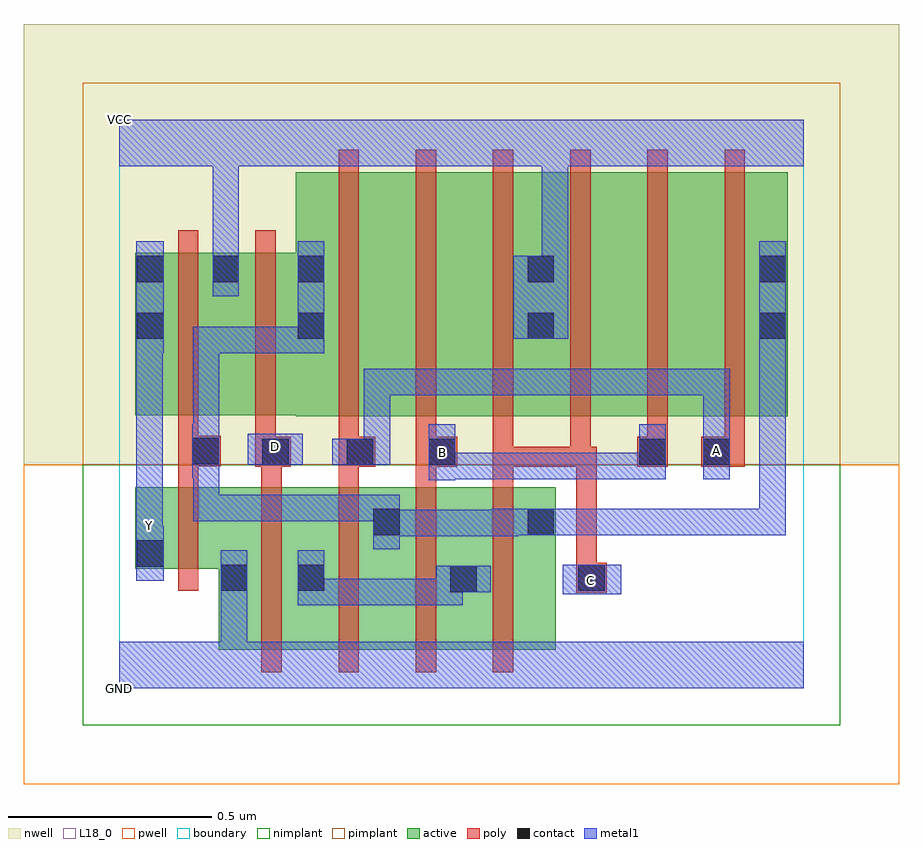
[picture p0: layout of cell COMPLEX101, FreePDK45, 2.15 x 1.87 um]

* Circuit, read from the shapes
.subckt COMPLEX101 A B C D GND VCC Y
M1 GND n1 Y VSUBS nfet w=0.2u l=0.05u
M2 n2 D GND VSUBS nfet w=0.4u l=0.05u
M3 n1 A n2 VSUBS nfet w=0.4u l=0.05u
M4 n2 B n1 VSUBS nfet w=0.4u l=0.05u
M5 n1 C n2 VSUBS nfet w=0.4u l=0.05u
M6 VCC n1 Y n3 pfet w=0.4u l=0.05u
M7 n1 D VCC n3 pfet w=0.4u l=0.05u
M8 n4 A n1 n3 pfet w=0.6u l=0.05u
M9 n5 B n4 n3 pfet w=0.6u l=0.05u
M10 VCC C n5 n3 pfet w=0.6u l=0.05u
M11 n6 C VCC n3 pfet w=0.6u l=0.05u
M12 n7 B n6 n3 pfet w=0.6u l=0.05u
M13 n1 A n7 n3 pfet w=0.6u l=0.05u
.ends

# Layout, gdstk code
import gdstk
lib = gdstk.Library(unit=1e-6, precision=1e-09)
def R(c, l, rs):  # rectangles x0, y0, x1, y1
    for r in rs: c.add(gdstk.rectangle(r[:2], r[2:], *l))
def A(c, l, x, y, w, h, nx, ny, dx, dy):  # array of equal rectangles
    R(c, l, [(x+i*dx, y+j*dy, x+i*dx+w, y+j*dy+h) for i in range(nx) for j in range(ny)])
active = (1, 0)
pwell = (2, 0)
nwell = (3, 0)
nimplant = (4, 0)
pimplant = (5, 0)
poly = (9, 0)
contact = (10, 0)
metal1 = (11, 0)
L18_0 = (18, 0)
boundary = (235, 0)

complex101 = lib.new_cell('COMPLEX101')
R(complex101, active, [(0.245,0.095,0.32,0.495), (0.245,0.095,0.51,0.495), (0.435,0.095,0.51,0.492), (0.435,0.095,0.695,0.495), (0.62,0.095,0.885,0.495), (0.62,0.095,0.695,0.492), (0.81,0.095,1.075,0.495), (0.81,0.095,0.885,0.492), (1,0.095,1.075,0.495), (0.04,0.295,0.32,0.495), (0.04,0.295,0.115,0.495), (0.435,0.67,0.66,1.27), (0.66,0.67,0.85,1.27), (0.85,0.67,1.075,1.27), (1,0.67,1.23,1.27), (1.23,0.67,1.42,1.27), (1.42,0.67,1.645,1.27), (1.57,0.67,1.645,1.2), (0.04,0.672,0.115,1.072), (0.04,0.672,0.3,1.072), (0.225,0.672,0.51,1.072), (0.435,0.672,0.51,1.2), (1,0.707,1.075,1.205), (0.225,0.722,0.3,1.07)])
R(complex101, pwell, [(-0.235,-0.235,1.92,0.55)])
R(complex101, nwell, [(-0.235,0.55,1.92,1.635)])
R(complex101, nimplant, [(-0.09,-0.09,1.775,0.55)])
R(complex101, pimplant, [(-0.09,0.55,1.775,1.49)])
A(complex101, poly, 0.35, 0.04, 0.05, 0.51, 4, 1, 0.19, 0)
A(complex101, poly, 0.35, 0.5, 0.05, 0.095, 4, 1, 0.19, 0)
A(complex101, poly, 0.54, 0.615, 0.05, 0.71, 6, 1, 0.19, 0)
R(complex101, poly, [(1.125,0.235,1.2,0.31), (0.145,0.24,0.195,0.55), (1.125,0.26,1.175,0.595), (1.125,0.26,1.175,0.31), (1.125,0.26,1.175,0.31), (0.145,0.5,0.195,0.597), (0.335,0.545,0.422,0.62), (0.54,0.545,0.63,0.62), (0.73,0.545,0.832,0.62), (0.92,0.545,0.97,0.665), (0.92,0.545,1.16,0.595), (0.92,0.545,0.97,0.595), (0.92,0.545,0.97,0.595), (0.92,0.545,0.97,0.595), (1.11,0.545,1.16,0.665), (1.11,0.545,1.175,0.595), (1.275,0.545,1.35,0.62), (1.432,0.545,1.54,0.62), (0.145,0.547,0.25,0.622), (0.335,0.57,0.385,0.667), (0.54,0.57,0.59,0.665), (0.73,0.57,0.78,0.665), (1.3,0.57,1.35,0.665), (1.49,0.57,1.54,0.665), (0.145,0.572,0.195,0.667), (0.145,0.617,0.195,1.127), (0.335,0.617,0.385,1.127)])
R(complex101, contact, [(0.815,0.237,0.88,0.302), (0.25,0.24,0.315,0.305), (0.44,0.24,0.505,0.305), (1.13,0.24,1.195,0.305), (0.045,0.3,0.11,0.365), (0.625,0.377,0.69,0.442), (1.005,0.377,1.07,0.442), (0.352,0.55,0.417,0.615), (0.56,0.55,0.625,0.615), (0.762,0.55,0.827,0.615), (1.28,0.55,1.345,0.615), (1.437,0.55,1.502,0.615), (0.18,0.552,0.245,0.617), (0.045,0.86,0.11,0.925), (0.44,0.86,0.505,0.925), (1.005,0.86,1.07,0.925), (1.575,0.86,1.64,0.925), (0.045,1,0.11,1.065), (0.23,1,0.295,1.065), (0.44,1,0.505,1.065), (1.005,1,1.07,1.065), (1.575,1,1.64,1.065)])
R(complex101, metal1, [(0,0,1.685,0.115), (0.25,0.05,0.315,0.27), (0.25,0.205,0.315,0.34), (0.44,0.205,0.505,0.34), (0.44,0.205,0.69,0.27), (0.625,0.205,0.69,0.27), (0.625,0.205,0.69,0.27), (0.625,0.205,0.69,0.27), (0.625,0.205,0.845,0.27), (0.78,0.205,0.845,0.302), (1.092,0.232,1.235,0.305), (0.78,0.237,0.845,0.302), (0.78,0.237,0.915,0.302), (0.042,0.265,0.11,0.4), (0.042,0.332,0.107,0.467), (0.042,0.335,0.107,0.4), (0.625,0.342,0.69,0.477), (0.625,0.375,0.827,0.44), (0.762,0.375,0.827,0.44), (0.762,0.375,0.827,0.44), (0.762,0.375,0.827,0.44), (0.762,0.375,0.982,0.44), (0.917,0.375,0.982,0.442), (0.917,0.377,1.035,0.442), (0.97,0.377,1.105,0.442), (1.04,0.377,1.12,0.442), (1.055,0.377,1.12,0.442), (1.055,0.377,1.365,0.442), (1.3,0.377,1.365,0.442), (1.3,0.377,1.365,0.442), (1.3,0.377,1.365,0.442), (1.3,0.377,1.502,0.442), (1.437,0.377,1.502,0.442), (1.437,0.377,1.64,0.442), (1.575,0.377,1.64,0.442), (1.575,0.377,1.64,0.442), (1.575,0.377,1.64,0.442), (1.575,0.377,1.64,0.89), (0.042,0.402,0.107,0.89), (0.182,0.412,0.247,0.477), (0.182,0.412,0.382,0.477), (0.182,0.412,0.247,0.652), (0.317,0.412,0.382,0.477), (0.317,0.412,0.53,0.477), (0.465,0.412,0.53,0.477), (0.465,0.412,0.53,0.477), (0.465,0.412,0.53,0.477), (0.465,0.412,0.69,0.477), (0.762,0.512,0.827,0.65), (0.762,0.515,0.897,0.58), (0.832,0.515,0.897,0.58), (0.832,0.515,0.982,0.58), (0.917,0.515,0.982,0.58), (0.917,0.515,1.207,0.58), (1.142,0.515,1.207,0.58), (1.142,0.515,1.207,0.58), (1.142,0.515,1.207,0.58), (1.142,0.515,1.345,0.58), (1.28,0.515,1.345,0.58), (1.28,0.515,1.345,0.58), (1.28,0.515,1.345,0.65), (1.437,0.515,1.502,0.652), (0.18,0.517,0.245,0.652), (0.317,0.55,0.452,0.627), (0.525,0.55,0.66,0.615), (0.595,0.55,0.667,0.615), (0.602,0.55,0.667,0.615), (0.602,0.55,0.667,0.787), (0.18,0.587,0.245,0.652), (0.18,0.587,0.247,0.652), (0.182,0.587,0.247,0.89), (1.437,0.587,1.502,0.652), (1.437,0.587,1.502,0.652), (1.437,0.587,1.502,0.787), (0.602,0.722,0.667,0.787), (0.602,0.722,0.827,0.787), (0.762,0.722,0.827,0.787), (0.762,0.722,0.827,0.787), (0.762,0.722,0.827,0.787), (0.762,0.722,0.982,0.787), (0.917,0.722,0.982,0.787), (0.917,0.722,1.207,0.787), (1.142,0.722,1.207,0.787), (1.142,0.722,1.207,0.787), (1.142,0.722,1.207,0.787), (1.142,0.722,1.365,0.787), (1.3,0.722,1.365,0.787), (1.3,0.722,1.365,0.787), (1.3,0.722,1.365,0.787), (1.3,0.722,1.502,0.787), (1.437,0.722,1.502,0.787), (0.042,0.825,0.11,1.1), (0.182,0.825,0.247,0.89), (0.182,0.825,0.392,0.89), (0.327,0.825,0.392,0.89), (0.327,0.825,0.505,0.89), (0.44,0.825,0.505,1.1), (1.575,0.825,1.64,0.89), (1.575,0.825,1.64,0.89), (1.575,0.825,1.64,1.1), (0.97,0.86,1.105,1.065), (0.23,0.965,0.295,1.1), (1.04,1,1.105,1.35), (0.23,1.035,0.295,1.35), (0,1.285,1.685,1.4), (0.23,1.285,0.295,1.35), (0.23,1.285,0.295,1.35)])
R(complex101, L18_0, [(0,0,1.685,0.115), (0.25,0.05,0.315,0.27), (0.25,0.205,0.315,0.34), (1.092,0.232,1.235,0.305), (1.127,0.232,1.192,0.297), (0.042,0.265,0.11,0.4), (0.042,0.332,0.107,0.467), (0.042,0.335,0.107,0.4), (0.042,0.367,0.107,0.432), (0.042,0.402,0.107,0.89), (0.762,0.512,0.827,0.65), (0.762,0.515,0.897,0.58), (0.832,0.515,0.897,0.58), (0.832,0.515,0.982,0.58), (0.917,0.515,0.982,0.58), (0.917,0.515,1.207,0.58), (1.142,0.515,1.207,0.58), (1.142,0.515,1.207,0.58), (1.142,0.515,1.207,0.58), (1.142,0.515,1.345,0.58), (1.28,0.515,1.345,0.65), (1.28,0.515,1.345,0.58), (1.28,0.515,1.345,0.58), (1.437,0.515,1.502,0.652), (0.762,0.547,0.827,0.612), (0.317,0.55,0.452,0.627), (0.525,0.55,0.66,0.615), (0.595,0.55,0.667,0.615), (0.602,0.55,0.667,0.615), (0.602,0.55,0.667,0.787), (1.437,0.552,1.502,0.617), (0.352,0.562,0.417,0.627), (1.437,0.587,1.502,0.652), (1.437,0.587,1.502,0.652), (1.437,0.587,1.502,0.787), (0.602,0.722,0.667,0.787), (0.602,0.722,0.827,0.787), (0.762,0.722,0.827,0.787), (0.762,0.722,0.827,0.787), (0.762,0.722,0.827,0.787), (0.762,0.722,0.982,0.787), (0.917,0.722,0.982,0.787), (0.917,0.722,1.207,0.787), (1.142,0.722,1.207,0.787), (1.142,0.722,1.207,0.787), (1.142,0.722,1.207,0.787), (1.142,0.722,1.365,0.787), (1.3,0.722,1.365,0.787), (1.3,0.722,1.365,0.787), (1.3,0.722,1.365,0.787), (1.3,0.722,1.502,0.787), (1.437,0.722,1.502,0.787), (0.042,0.825,0.11,1.1), (0.97,0.86,1.105,1.065), (0.23,0.965,0.295,1.1), (1.04,1,1.105,1.35), (0.23,1.035,0.295,1.35), (0,1.285,1.685,1.4), (0.23,1.285,0.295,1.35), (0.23,1.285,0.295,1.35)])
R(complex101, boundary, [(0,0,1.685,1.4)])
complex101.add(gdstk.Label('A', (1.47,0.585), layer=11, texttype=0))
complex101.add(gdstk.Label('B', (0.795,0.58), layer=11, texttype=0))
complex101.add(gdstk.Label('C', (1.16,0.265), layer=11, texttype=0))
complex101.add(gdstk.Label('D', (0.385,0.595), layer=11, texttype=0))
complex101.add(gdstk.Label('Y', (0.075,0.4), layer=11, texttype=0))
complex101.add(gdstk.Label('VCC', (0,1.4), layer=11, texttype=0))
complex101.add(gdstk.Label('GND', (0,0), layer=11, texttype=0))

lib.write_gds('COMPLEX101.gds')
